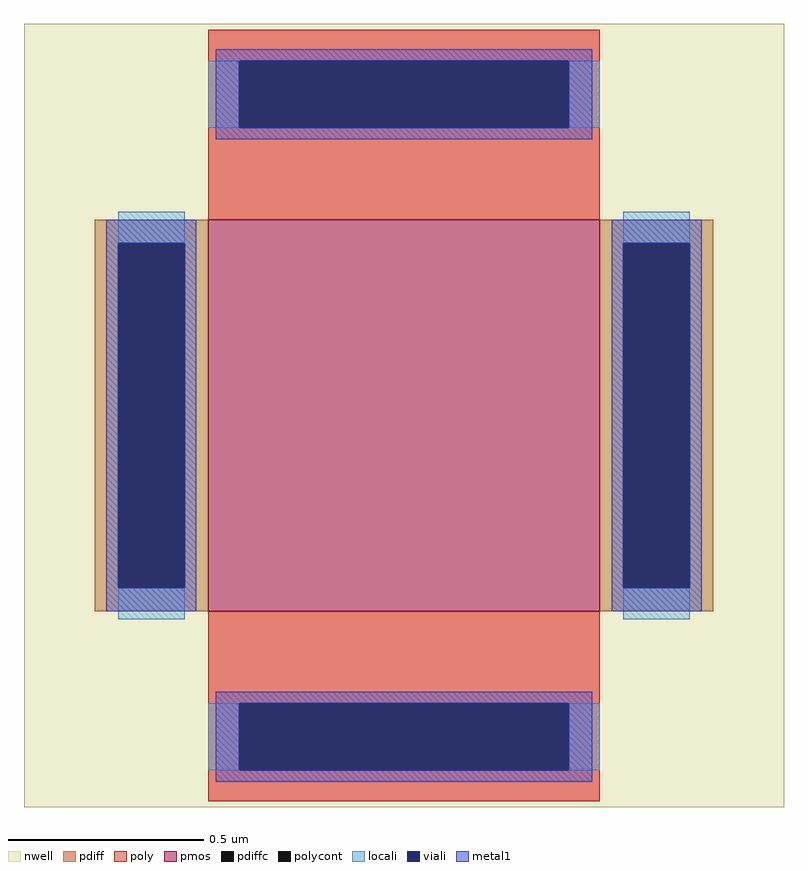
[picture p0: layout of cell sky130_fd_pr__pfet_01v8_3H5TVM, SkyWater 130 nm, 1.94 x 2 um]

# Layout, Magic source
magic
tech sky130A
magscale 1 2
<< nwell >>
rect -194 -200 194 200
<< pmos >>
rect -100 -100 100 100
<< pdiff >>
rect -158 88 -100 100
rect -158 -88 -146 88
rect -112 -88 -100 88
rect -158 -100 -100 -88
rect 100 88 158 100
rect 100 -88 112 88
rect 146 -88 158 88
rect 100 -100 158 -88
<< pdiffc >>
rect -146 -88 -112 88
rect 112 -88 146 88
<< poly >>
rect -100 181 100 197
rect -100 147 -84 181
rect 84 147 100 181
rect -100 100 100 147
rect -100 -147 100 -100
rect -100 -181 -84 -147
rect 84 -181 100 -147
rect -100 -197 100 -181
<< polycont >>
rect -84 147 84 181
rect -84 -181 84 -147
<< locali >>
rect -100 147 -84 181
rect 84 147 100 181
rect -146 88 -112 104
rect -146 -104 -112 -88
rect 112 88 146 104
rect 112 -104 146 -88
rect -100 -181 -84 -147
rect 84 -181 100 -147
<< viali >>
rect -84 147 84 181
rect -146 -88 -112 88
rect 112 -88 146 88
rect -84 -181 84 -147
<< metal1 >>
rect -96 181 96 187
rect -96 147 -84 181
rect 84 147 96 181
rect -96 141 96 147
rect -152 88 -106 100
rect -152 -88 -146 88
rect -112 -88 -106 88
rect -152 -100 -106 -88
rect 106 88 152 100
rect 106 -88 112 88
rect 146 -88 152 88
rect 106 -100 152 -88
rect -96 -147 96 -141
rect -96 -181 -84 -147
rect 84 -181 96 -147
rect -96 -187 96 -181
<< properties >>
string gencell sky130_fd_pr__pfet_01v8
string library sky130
string parameters w 1.0 l 1.0 m 1 nf 1 diffcov 100 polycov 100 guard 0 glc 1 grc 1 gtc 1 gbc 1 tbcov 100 rlcov 100 topc 1 botc 1 poverlap 0 doverlap 1 lmin 0.15 wmin 0.42 compatible {sky130_fd_pr__pfet_01v8  sky130_fd_pr__pfet_01v8_lvt sky130_fd_pr__pfet_01v8_hvt  sky130_fd_pr__pfet_g5v0d10v5} full_metal 1 viasrc 100 viadrn 100 viagate 100 viagb 0 viagr 0 viagl 0 viagt 0
<< end >>
